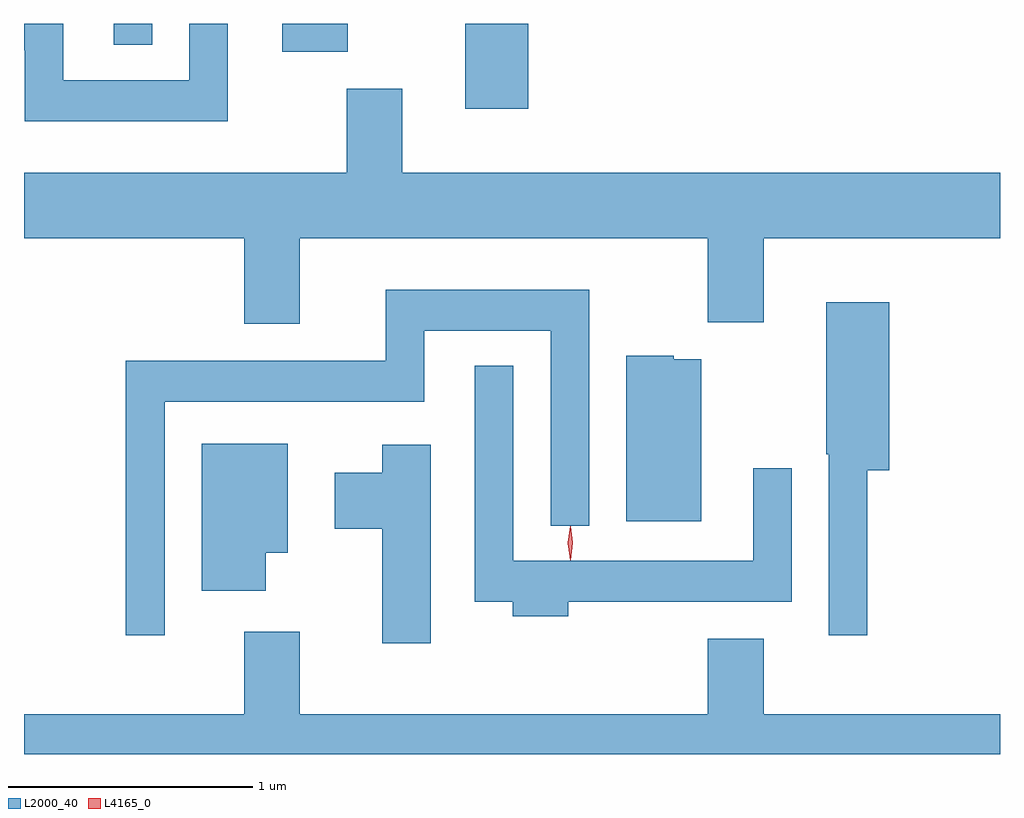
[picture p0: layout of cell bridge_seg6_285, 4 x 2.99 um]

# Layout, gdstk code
import gdstk
lib = gdstk.Library(unit=1e-6, precision=1e-09)
def R(c, l, rs):  # rectangles x0, y0, x1, y1
    for r in rs: c.add(gdstk.rectangle(r[:2], r[2:], *l))
def P(c, l, *ps):  # polygons
    for p in ps: c.add(gdstk.Polygon(p, *l))
L2000_40 = (2000, 40)
L4165_0 = (4165, 0)

bridge_seg6_285 = lib.new_cell('bridge_seg6_285')
R(bridge_seg6_285, L2000_40, [(1306.396,1532.806,1306.654,1533.154), (1305.646,1533.041,1305.914,1533.154), (1304.956,1533.068,1305.114,1533.154)])
P(bridge_seg6_285, L2000_40, [(1305.424,1533.154),(1305.266,1533.154),(1305.266,1532.924),(1304.749,1532.924),(1304.749,1533.154),(1304.588,1533.154),(1304.588,1533.046),(1304.591,1533.046),(1304.591,1532.756),(1305.424,1532.756)],
  [(1305.719,1532.276),(1307.391,1532.276),(1307.391,1531.931),(1307.619,1531.931),(1307.619,1532.276),(1308.588,1532.276),(1308.588,1532.544),(1306.139,1532.544),(1306.139,1532.889),(1305.911,1532.889),(1305.911,1532.544),(1304.588,1532.544),(1304.588,1532.276),(1305.491,1532.276),(1305.491,1531.926),(1305.719,1531.926)],
  [(1305.164,1531.606),(1306.229,1531.606),(1306.229,1531.896),(1306.746,1531.896),(1306.746,1531.098),(1306.904,1531.098),(1306.904,1532.064),(1306.071,1532.064),(1306.071,1531.774),(1305.006,1531.774),(1305.006,1530.648),(1305.164,1530.648)],
  [(1308.044,1531.326),(1308.134,1531.326),(1308.134,1532.014),(1307.876,1532.014),(1307.876,1531.39),(1307.886,1531.39),(1307.886,1530.648),(1308.044,1530.648)],
  [(1307.364,1531.779),(1307.25,1531.779),(1307.25,1531.794),(1307.056,1531.794),(1307.056,1531.116),(1307.364,1531.116)],
  [(1306.819,1530.786),(1307.734,1530.786),(1307.734,1531.333),(1307.576,1531.333),(1307.576,1530.954),(1306.594,1530.954),(1306.594,1531.753),(1306.436,1531.753),(1306.436,1530.786),(1306.591,1530.786),(1306.591,1530.726),(1306.819,1530.726)],
  [(1305.579,1530.986),(1305.669,1530.986),(1305.669,1531.434),(1305.316,1531.434),(1305.316,1530.831),(1305.579,1530.831)],
  [(1306.254,1531.429),(1306.056,1531.429),(1306.056,1531.314),(1305.861,1531.314),(1305.861,1531.086),(1306.056,1531.086),(1306.056,1530.616),(1306.254,1530.616)],
  [(1308.588,1530.324),(1307.619,1530.324),(1307.619,1530.634),(1307.391,1530.634),(1307.391,1530.324),(1305.719,1530.324),(1305.719,1530.664),(1305.491,1530.664),(1305.491,1530.324),(1304.588,1530.324),(1304.588,1530.162),(1308.588,1530.162)])
P(bridge_seg6_285, L4165_0, [(1306.827,1530.959),(1306.826,1530.96),(1306.817,1531.026),(1306.826,1531.093),(1306.827,1531.093),(1306.828,1531.093),(1306.837,1531.026),(1306.828,1530.96)],
  [(1306.826,1530.957),(1306.817,1531.027),(1306.826,1531.096),(1306.827,1531.096),(1306.828,1531.096),(1306.837,1531.027),(1306.828,1530.957),(1306.827,1530.957)])

lib.write_gds('bridge_seg6_285.gds')
